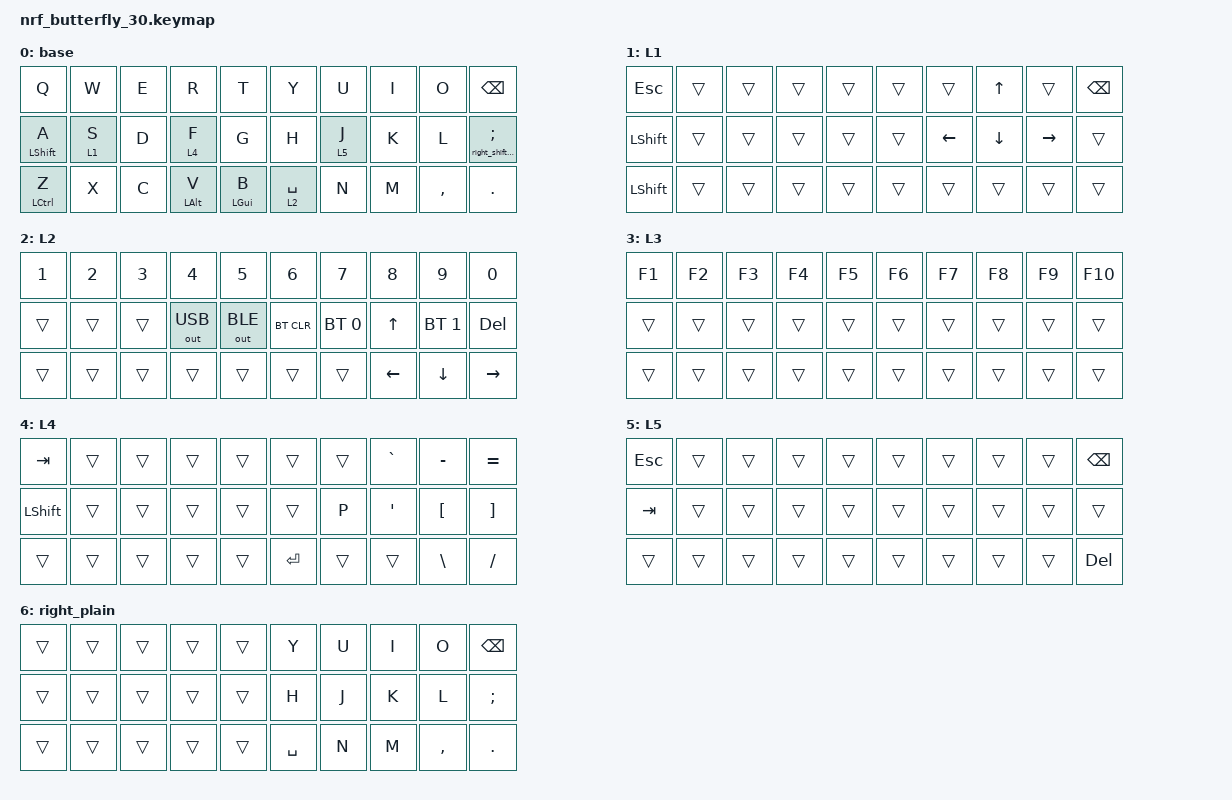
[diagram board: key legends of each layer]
// GENERATED FILE -- edit layout.txt and run generate-keymap.py instead.
#include <behaviors.dtsi>
#include <dt-bindings/zmk/keys.h>
#include <dt-bindings/zmk/bt.h>
#include <dt-bindings/zmk/outputs.h>

/ {
    macros {
        right_shift_plain: right_shift_plain {
            compatible = "zmk,behavior-macro";
            #binding-cells = <0>;
            wait-ms = <0>;
            tap-ms = <0>;
            bindings = <&macro_press &mo 6 &kp RSHFT>,
                       <&macro_pause_for_release>,
                       <&macro_release &mo 6 &kp RSHFT>;
        };
    };

    combos {
        compatible = "zmk,combos";

        combo_0 {
            timeout-ms = <25>;
            key-positions = <13 0>;
            layers = <0>;
            bindings = <&kp TAB>;
        };

        combo_1 {
            timeout-ms = <25>;
            key-positions = <11 0>;
            layers = <0>;
            bindings = <&kp ESC>;
        };

        combo_2 {
            timeout-ms = <25>;
            key-positions = <13 25>;
            layers = <0>;
            bindings = <&kp ENTER>;
        };
    };

    behaviors {
        // Tap = base key, hold = momentary-activate a layer. "tap-preferred"
        // flavor: an interrupting key press only resolves to the layer if
        // the hold-tap key is still held past the tapping term; fast rolls
        // (e.g. "to", "ti") resolve as taps instead of misfiring into the
        // layer. Drives every "<base>L<n>" combo token.
        hold_layer: hold_layer {
            compatible = "zmk,behavior-hold-tap";
            #binding-cells = <2>;
            flavor = "tap-preferred";
            tapping-term-ms = <250>;
            bindings = <&mo>, <&kp>;
            display-name = "Hold Layer";
        };

        // Tap = base key, hold = toggle a layer on/off. Same tap-preferred
        // timing as hold_layer. Drives every "<base>T<n>" combo token.
        hold_toggle: hold_toggle {
            compatible = "zmk,behavior-hold-tap";
            #binding-cells = <2>;
            flavor = "tap-preferred";
            tapping-term-ms = <250>;
            bindings = <&tog>, <&kp>;
            display-name = "Hold Toggle Layer";
        };

        // Tap = base key, hold = a different key (used for modifiers, e.g.
        // B taps 'b' but held acts as Command). Drives every "<base>K<n>"
        // combo token, where K<n> is defined by a "K<n> = <token>" alias
        // line in layout.txt.
        //
        // "balanced" + hold-trigger-on-release: if another key is pressed
        // AND released while this key is still held, that resolves to hold
        // as soon as the other key releases -- no waiting out the tapping
        // term -- so holding B and tapping C for Cmd+C feels like a real
        // chord instead of a laggy timeout. No prior-idle restriction:
        // successive modifier holds must work for Cmd+Shift+number chords.
        // retro-tap is deliberately NOT set: holding a
        // modifier alone and releasing it with nothing else pressed must
        // keep producing no output, same as holding a real shift key.
        hold_mod: hold_mod {
            compatible = "zmk,behavior-hold-tap";
            #binding-cells = <2>;
            flavor = "balanced";
            tapping-term-ms = <200>;
            hold-trigger-on-release;
            bindings = <&kp>, <&kp>;
            display-name = "Hold Mod";
        };

        // A needs extra typing protection: another key's press/release
        // must not turn a fast A-L roll into Shift-L before the timeout.
        hold_a_shift: hold_a_shift {
            compatible = "zmk,behavior-hold-tap";
            #binding-cells = <2>;
            flavor = "tap-preferred";
            tapping-term-ms = <225>;
            bindings = <&kp>, <&kp>;
            display-name = "A Left Shift";
        };

        // Tap semicolon; hold Shift plus a plain right-hand layer.
        // Balanced flavor preserves fast letter rolls before hold resolves.
        hold_right_shift: hold_right_shift {
            compatible = "zmk,behavior-hold-tap";
            #binding-cells = <2>;
            flavor = "balanced";
            tapping-term-ms = <200>;
            bindings = <&right_shift_plain>, <&kp>;
            display-name = "Right Shift Plain";
        };
    };

    keymap {
        compatible = "zmk,keymap";

        base {
            bindings = <
&kp Q &kp W &kp E &kp R &kp T &kp Y &kp U &kp I &kp O &kp BSPC
&hold_a_shift LSHFT A &hold_layer 1 S &kp D &hold_layer 4 F &kp G &kp H &hold_layer 5 J &kp K &kp L &hold_right_shift 0 SEMI
&hold_mod LCTRL Z &kp X &kp C &hold_mod LALT V &hold_mod LGUI B &hold_layer 2 SPACE &kp N &kp M &kp COMMA &kp DOT
            >;
        };

        L1 {
            bindings = <
&kp ESC &trans &trans &trans &trans &trans &trans &kp UP &trans &kp BSPC
&kp LSHFT &trans &trans &trans &trans &trans &kp LEFT &kp DOWN &kp RIGHT &trans
&kp LSHFT &trans &trans &trans &trans &trans &trans &trans &trans &trans
            >;
        };

        L2 {
            bindings = <
&kp N1 &kp N2 &kp N3 &kp N4 &kp N5 &kp N6 &kp N7 &kp N8 &kp N9 &kp N0
&trans &trans &trans &out OUT_USB &out OUT_BLE &bt BT_CLR &bt BT_SEL 0 &kp UP &bt BT_SEL 1 &kp DEL
&trans &trans &trans &trans &trans &trans &trans &kp LEFT &kp DOWN &kp RIGHT
            >;
        };

        L3 {
            bindings = <
&kp F1 &kp F2 &kp F3 &kp F4 &kp F5 &kp F6 &kp F7 &kp F8 &kp F9 &kp F10
&trans &trans &trans &trans &trans &trans &trans &trans &trans &trans
&trans &trans &trans &trans &trans &trans &trans &trans &trans &trans
            >;
        };

        L4 {
            bindings = <
&kp TAB &trans &trans &trans &trans &trans &trans &kp GRAVE &kp MINUS &kp EQUAL
&kp LSHFT &trans &trans &trans &trans &trans &kp P &kp SQT &kp LBKT &kp RBKT
&trans &trans &trans &trans &trans &kp ENTER &trans &trans &kp BSLH &kp FSLH
            >;
        };

        L5 {
            bindings = <
&kp ESC &trans &trans &trans &trans &trans &trans &trans &trans &kp BSPC
&kp TAB &trans &trans &trans &trans &trans &trans &trans &trans &trans
&trans &trans &trans &trans &trans &trans &trans &trans &trans &kp DEL
            >;
        };

        right_plain {
            bindings = <
&trans &trans &trans &trans &trans &kp Y &kp U &kp I &kp O &kp BSPC
&trans &trans &trans &trans &trans &kp H &kp J &kp K &kp L &kp SEMI
&trans &trans &trans &trans &trans &kp SPACE &kp N &kp M &kp COMMA &kp DOT
            >;
        };
    };
};
